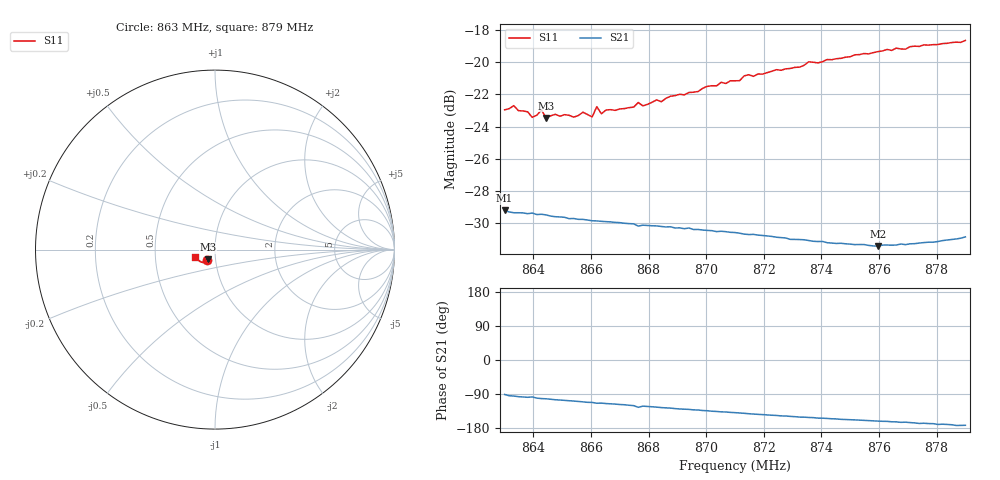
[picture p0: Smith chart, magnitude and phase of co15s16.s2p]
# HZ S RI R 50
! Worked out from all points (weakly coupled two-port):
!   101 points, 863 MHz to 879 MHz, reference 50 ohm
!   highest |S21| = -29.22 dB at 863 MHz (marker M1); lowest = -31.4 dB at 875.96 MHz (marker M2)
!   lowest |S11| = -23.5 dB at 864.44 MHz (marker M3), VSWR 1.14, Z = 46 - j5.04 ohm
!   |S11| at or under -10 dB: start of sweep to end of sweep
!   S12 and S22 are empty: the file has one direction only
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8.63e8  -0.0431 -0.0566  -0.000592 -0.0346  0 0  0 0
8.6332e8  -0.047 -0.0562  -0.00303 -0.0339  0 0  0 0
8.6396e8  -0.039 -0.0549  -0.00446 -0.0337  0 0  0 0
8.6428e8  -0.044 -0.0557  -0.0069 -0.033  0 0  0 0
8.6444e8  -0.039 -0.0546  -0.00717 -0.0327  0 0  0 0
8.6476e8  -0.0408 -0.0555  -0.00851 -0.032  0 0  0 0
8.654e8  -0.0374 -0.0561  -0.0103 -0.031  0 0  0 0
8.6572e8  -0.0381 -0.0586  -0.0113 -0.0304  0 0  0 0
8.6604e8  -0.0363 -0.057  -0.012 -0.0298  0 0  0 0
8.662e8  -0.0411 -0.06  -0.0131 -0.0293  0 0  0 0
8.6636e8  -0.0376 -0.058  -0.0129 -0.0293  0 0  0 0
8.6748e8  -0.0365 -0.0626  -0.0159 -0.0271  0 0  0 0
8.6764e8  -0.0378 -0.0647  -0.0177 -0.0254  0 0  0 0
8.678e8  -0.0372 -0.063  -0.0164 -0.0265  0 0  0 0
8.6828e8  -0.0386 -0.0659  -0.0175 -0.0256  0 0  0 0
8.6844e8  -0.0382 -0.0649  -0.0179 -0.0251  0 0  0 0
8.6876e8  -0.0386 -0.0682  -0.0185 -0.0246  0 0  0 0
8.71e8  -0.0499 -0.0719  -0.0223 -0.0194  0 0  0 0
8.7372e8  -0.0695 -0.0718  -0.0245 -0.013  0 0  0 0
8.7596e8  -0.087 -0.0637  -0.0254 -0.00863  0 0  0 0
8.7644e8  -0.0908 -0.0598  -0.0258 -0.00789  0 0  0 0
8.79e8  -0.1099 -0.0395  -0.0284 -0.00385  0 0  0 0
